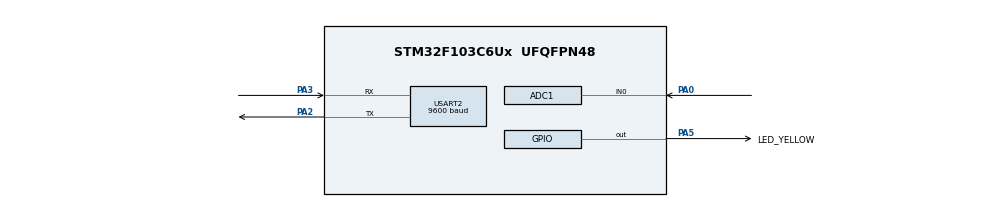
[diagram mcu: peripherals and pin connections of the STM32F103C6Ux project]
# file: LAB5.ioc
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ADC1.Channel-0\#ChannelRegularConversion=ADC_CHANNEL_0
ADC1.ContinuousConvMode=ENABLE
ADC1.NbrOfConversionFlag=1
ADC1.Rank-0\#ChannelRegularConversion=1
ADC1.SamplingTime-0\#ChannelRegularConversion=ADC_SAMPLETIME_1CYCLE_5
ADC1.master=1
Mcu.Family=STM32F1
Mcu.Name=STM32F103C6Ux
Mcu.Package=UFQFPN48
NVIC.PriorityGroup=NVIC_PRIORITYGROUP_4
NVIC.USART2_IRQn=true\:0\:0\:false\:false\:true\:true\:true
PA0-WKUP.Signal=ADCx_IN0
PA2.Mode=Asynchronous
PA2.Signal=USART2_TX
PA3.Mode=Asynchronous
PA3.Signal=USART2_RX
PA5.GPIO_Label=LED_YELLOW
PA5.Signal=GPIO_Output
PA6.Signal=S_TIM3_CH1
ProjectManager.HeapSize=0x200
ProjectManager.StackSize=0x400
ProjectManager.TargetToolchain=STM32CubeIDE
RCC.APB1Freq_Value=8000000
RCC.APB2Freq_Value=8000000
SH.ADCx_IN0.0=ADC1_IN0,IN0
SH.S_TIM3_CH1.0=TIM3_CH1
USART2.BaudRate=9600
USART2.VirtualMode=VM_ASYNC
VP_SYS_VS_ND.Mode=No_Debug
board=custom

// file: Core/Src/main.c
/* USER CODE BEGIN Header */
/**
  ******************************************************************************
  * @file           : main.c
  * @brief          : Main program body
  ******************************************************************************
  * @attention
  *
  * <h2><center>&copy; Copyright (c) 2024 STMicroelectronics.
  * All rights reserved.</center></h2>
  *
  * This software component is licensed by ST under BSD 3-Clause license,
  * the "License"; You may not use this file except in compliance with the
  * License. You may obtain a copy of the License at:
  *                        opensource.org/licenses/BSD-3-Clause
  *
  ******************************************************************************
  */
/* USER CODE END Header */
#include "main.h"

/* USER CODE BEGIN Includes */
#include "command_parser_fsm.h"
#include "uart_communiation_fsm.h"
/* USER CODE END Includes */

ADC_HandleTypeDef hadc1;

UART_HandleTypeDef huart2;

void SystemClock_Config(void);
static void MX_GPIO_Init(void);
static void MX_ADC1_Init(void);
static void MX_USART2_UART_Init(void);

/* USER CODE BEGIN 0 */
uint8_t temp = 0;
uint8_t buffer[MAX_BUFFER_SIZE];
uint8_t index_buffer = 0;
uint8_t buffer_flag = 0;
uint32_t ADC_value;
void HAL_UART_RxCpltCallback(UART_HandleTypeDef *huart){
	 if(huart->Instance == USART2){ //kiem tra xem co sinh ra boi UART2
		 //HAL_UART_Transmit(&huart2, &temp, 1, 500); //Gui lai gia tri vua nhan
		 buffer[index_buffer++] = temp;  //chua gia tri vua nhan
		 if(index_buffer == 30) index_buffer = 0;
		 buffer_flag = 1; //bao hieu rang buffer da co du lieu moi can xu ly
		 HAL_UART_Receive_IT(&huart2, &temp, 1);   //Kich hoat lai ngat de nhan gia tri tiep theo
	 }
}

/* USER CODE END 0 */

int main(void)
{

  /* MCU Configuration--------------------------------------------------------*/

  /* Reset of all peripherals, Initializes the Flash interface and the Systick. */
  HAL_Init();

  /* Configure the system clock */
  SystemClock_Config();

  /* Initialize all configured peripherals */
  MX_GPIO_Init();
  MX_ADC1_Init();
  MX_USART2_UART_Init();
  /* USER CODE BEGIN 2 */
  HAL_UART_Receive_IT(&huart2, &temp, 1); //Bat dau nhan UART voi ngat
  /* USER CODE END 2 */

  /* Infinite loop */
  /* USER CODE BEGIN WHILE */
  uint32_t previous_time = HAL_GetTick();
  while (1)
  {
    /* USER CODE END WHILE */
//	  read_adc_value();
	  if(buffer_flag == 1)
	  {
		  command_parser_fsm();
		  buffer_flag = 0;
	  }
	  uart_communiation_fsm();
	  if(HAL_GetTick() - previous_time >= 500)
	  {
		  HAL_GPIO_TogglePin(GPIOA, LED_YELLOW_Pin);
		  previous_time = HAL_GetTick();
	  }
  }
}

void SystemClock_Config(void)
{
  RCC_OscInitTypeDef RCC_OscInitStruct = {0};
  RCC_ClkInitTypeDef RCC_ClkInitStruct = {0};
  RCC_PeriphCLKInitTypeDef PeriphClkInit = {0};

  /** Initializes the RCC Oscillators according to the specified parameters
  * in the RCC_OscInitTypeDef structure.
  */
  RCC_OscInitStruct.OscillatorType = RCC_OSCILLATORTYPE_HSI;
  RCC_OscInitStruct.HSIState = RCC_HSI_ON;
  RCC_OscInitStruct.HSICalibrationValue = RCC_HSICALIBRATION_DEFAULT;
  RCC_OscInitStruct.PLL.PLLState = RCC_PLL_NONE;
  if (HAL_RCC_OscConfig(&RCC_OscInitStruct) != HAL_OK)
  {
    Error_Handler();
  }
  /** Initializes the CPU, AHB and APB buses clocks
  */
  RCC_ClkInitStruct.ClockType = RCC_CLOCKTYPE_HCLK|RCC_CLOCKTYPE_SYSCLK
                              |RCC_CLOCKTYPE_PCLK1|RCC_CLOCKTYPE_PCLK2;
  RCC_ClkInitStruct.SYSCLKSource = RCC_SYSCLKSOURCE_HSI;
  RCC_ClkInitStruct.AHBCLKDivider = RCC_SYSCLK_DIV1;
  RCC_ClkInitStruct.APB1CLKDivider = RCC_HCLK_DIV1;
  RCC_ClkInitStruct.APB2CLKDivider = RCC_HCLK_DIV1;

  if (HAL_RCC_ClockConfig(&RCC_ClkInitStruct, FLASH_LATENCY_0) != HAL_OK)
  {
    Error_Handler();
  }
  PeriphClkInit.PeriphClockSelection = RCC_PERIPHCLK_ADC;
  PeriphClkInit.AdcClockSelection = RCC_ADCPCLK2_DIV2;
  if (HAL_RCCEx_PeriphCLKConfig(&PeriphClkInit) != HAL_OK)
  {
    Error_Handler();
  }
}

static void MX_ADC1_Init(void)
{

  ADC_ChannelConfTypeDef sConfig = {0};

  /** Common config
  */
  hadc1.Instance = ADC1;
  hadc1.Init.ScanConvMode = ADC_SCAN_DISABLE;
  hadc1.Init.ContinuousConvMode = ENABLE;
  hadc1.Init.DiscontinuousConvMode = DISABLE;
  hadc1.Init.ExternalTrigConv = ADC_SOFTWARE_START;
  hadc1.Init.DataAlign = ADC_DATAALIGN_RIGHT;
  hadc1.Init.NbrOfConversion = 1;
  if (HAL_ADC_Init(&hadc1) != HAL_OK)
  {
    Error_Handler();
  }
  /** Configure Regular Channel
  */
  sConfig.Channel = ADC_CHANNEL_0;
  sConfig.Rank = ADC_REGULAR_RANK_1;
  sConfig.SamplingTime = ADC_SAMPLETIME_1CYCLE_5;
  if (HAL_ADC_ConfigChannel(&hadc1, &sConfig) != HAL_OK)
  {
    Error_Handler();
  }

}

static void MX_USART2_UART_Init(void)
{

  huart2.Instance = USART2;
  huart2.Init.BaudRate = 9600;
  huart2.Init.WordLength = UART_WORDLENGTH_8B;
  huart2.Init.StopBits = UART_STOPBITS_1;
  huart2.Init.Parity = UART_PARITY_NONE;
  huart2.Init.Mode = UART_MODE_TX_RX;
  huart2.Init.HwFlowCtl = UART_HWCONTROL_NONE;
  huart2.Init.OverSampling = UART_OVERSAMPLING_16;
  if (HAL_UART_Init(&huart2) != HAL_OK)
  {
    Error_Handler();
  }

}

static void MX_GPIO_Init(void)
{
  GPIO_InitTypeDef GPIO_InitStruct = {0};

  /* GPIO Ports Clock Enable */
  __HAL_RCC_GPIOA_CLK_ENABLE();

  /*Configure GPIO pin Output Level */
  HAL_GPIO_WritePin(LED_YELLOW_GPIO_Port, LED_YELLOW_Pin, GPIO_PIN_RESET);

  /*Configure GPIO pin : LED_YELLOW_Pin */
  GPIO_InitStruct.Pin = LED_YELLOW_Pin;
  GPIO_InitStruct.Mode = GPIO_MODE_OUTPUT_PP;
  GPIO_InitStruct.Pull = GPIO_NOPULL;
  GPIO_InitStruct.Speed = GPIO_SPEED_FREQ_LOW;
  HAL_GPIO_Init(LED_YELLOW_GPIO_Port, &GPIO_InitStruct);

  /*Configure GPIO pin : PA6 */
  GPIO_InitStruct.Pin = GPIO_PIN_6;
  GPIO_InitStruct.Mode = GPIO_MODE_AF_PP;
  GPIO_InitStruct.Speed = GPIO_SPEED_FREQ_LOW;
  HAL_GPIO_Init(GPIOA, &GPIO_InitStruct);

}

void Error_Handler(void)
{
  __disable_irq();
  while (1)
  {
  }
}

/************************ (C) COPYRIGHT STMicroelectronics *****END OF FILE****/
